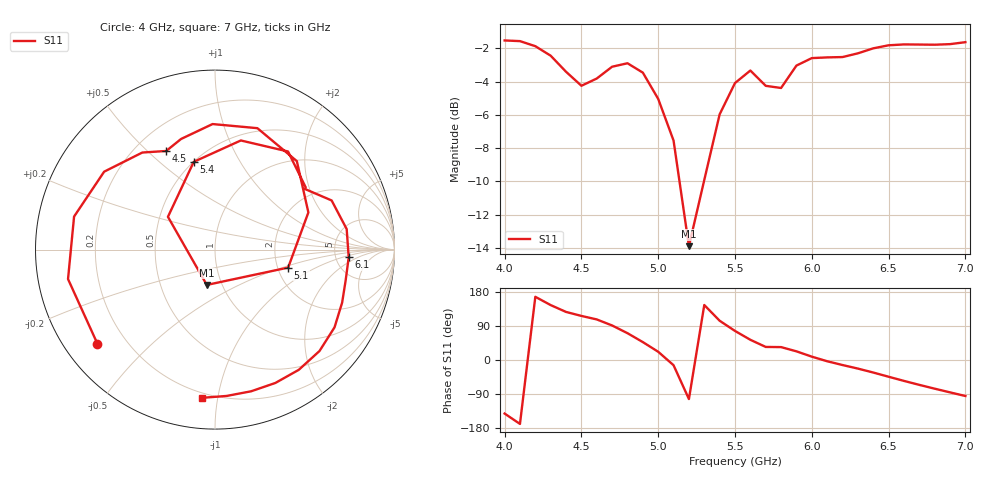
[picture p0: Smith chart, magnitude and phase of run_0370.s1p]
! Touchstone file exported from HFSS 2024.2.0
!  File:  C:/Users/wsak9/Desktop/Sim Fast/Widenad Patch/WP_AI_V1_sweep.aedt
!  Generated:  06:46:09 AM Oct 14, 2026
!  Design:  A1_model
!  Project:  WP_AI_V1_sweep
!  Setup:  Setup1
!  Solution:  Sweep
! Variables:
!  Air_gap = 1.58mm
!  Curve_Amp1 = 3.89
!  Curve_len1 = 1
!  Curve_pos = 10.95mm
!  Extra = 5.87mm
!  H_sub = 0.79mm
!  L_Patch = 17.9mm
!  L_Patch1 = 20.42mm
!  Sx = 2.26mm
!  Sy = 2.98mm
!  WS = 1.45mm
!  W_Patch = 16.18mm
!  W_Patch1 = 14.55mm
!Data is not renormalized
# GHz S MA
! Terminal data exported
! Port[1] = 1
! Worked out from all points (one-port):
!   31 points, 4 GHz to 7 GHz, reference per port
!   lowest |S11| = -13.9 dB at 5.2 GHz (marker M1), VSWR 1.51
!   |S11| at or under -10 dB: 5.139 GHz to 5.298 GHz (159 MHz wide, 3.05 % of centre)
!   S11 on the Smith chart (normalised r, x): 4 GHz: 0.10, -0.35; 4.5 GHz: 0.33, +0.57; 5.1 GHz: 2.28, -0.56; 5.4 GHz: 0.50, +0.66; 6.1 GHz: 6.63, -1.28; 7 GHz: 0.17, -0.90
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4  0.839 -141.4
4.1  0.8351 -168.7
4.2  0.8064 166.8
4.3  0.755 144.9
4.4  0.6756 126.8
4.5  0.6131 116.3
4.6  0.6447 107.0
4.7  0.6996 91.1
4.8  0.7166 70.8
4.9  0.6715 47.2
5  0.5599 21.7
5.1  0.4197 -13.8
5.2  0.2021 -103.1
5.3  0.3195 145.1
5.4  0.5031 103.6
5.5  0.6248 76.7
5.6  0.6814 53.3
5.7  0.6129 34.5
5.8  0.6038 34.0
5.9  0.7051 22.8
6  0.7426 8.9
6.1  0.7462 -3.3
6.3  0.7675 -22.7
6.4  0.7945 -33.1
6.5  0.8114 -44.2
6.7  0.8156 -65.6
6.8  0.8146 -75.7
7  0.8291 -95.0
